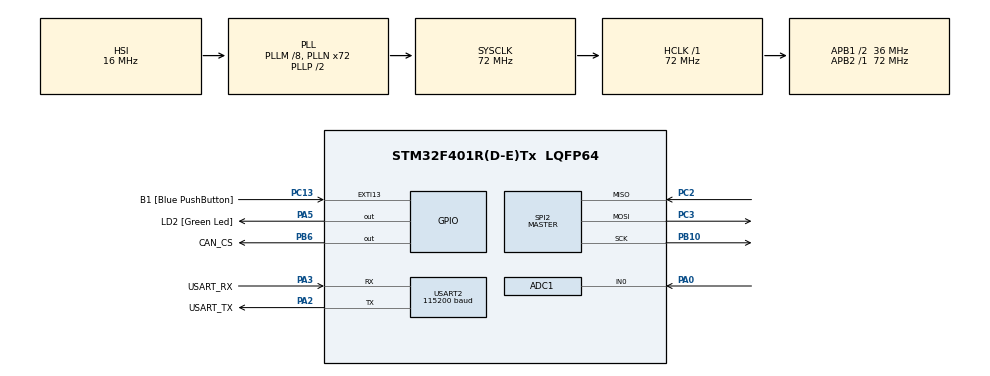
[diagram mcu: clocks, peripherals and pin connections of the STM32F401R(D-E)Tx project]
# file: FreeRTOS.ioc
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ADC1.Channel-0\#ChannelRegularConversion=ADC_CHANNEL_0
ADC1.Channel-1\#ChannelRegularConversion=ADC_CHANNEL_TEMPSENSOR
ADC1.ClockPrescaler=ADC_CLOCK_SYNC_PCLK_DIV8
ADC1.ContinuousConvMode=ENABLE
ADC1.DMAContinuousRequests=ENABLE
ADC1.EOCSelection=ADC_EOC_SEQ_CONV
ADC1.EnableAnalogWatchDog=true
ADC1.HighThreshold=3000
ADC1.InjNumberOfConversion=0
ADC1.LowThreshold=200
ADC1.NbrOfConversion=2
ADC1.NbrOfConversionFlag=1
ADC1.Rank-0\#ChannelRegularConversion=1
ADC1.Rank-1\#ChannelRegularConversion=2
ADC1.SamplingTime-0\#ChannelRegularConversion=ADC_SAMPLETIME_84CYCLES
ADC1.SamplingTime-1\#ChannelRegularConversion=ADC_SAMPLETIME_84CYCLES
ADC1.master=1
Dma.ADC1.0.Direction=DMA_PERIPH_TO_MEMORY
Dma.ADC1.0.FIFOMode=DMA_FIFOMODE_DISABLE
Dma.ADC1.0.Instance=DMA2_Stream0
Dma.ADC1.0.MemDataAlignment=DMA_MDATAALIGN_WORD
Dma.ADC1.0.MemInc=DMA_MINC_ENABLE
Dma.ADC1.0.Mode=DMA_CIRCULAR
Dma.ADC1.0.PeriphDataAlignment=DMA_PDATAALIGN_WORD
Dma.ADC1.0.PeriphInc=DMA_PINC_DISABLE
Dma.ADC1.0.Priority=DMA_PRIORITY_LOW
Dma.Request0=ADC1
FREERTOS.Tasks01=defaultTask,0,128,StartDefaultTask,Default,NULL,Dynamic,NULL,NULL
Mcu.Family=STM32F4
Mcu.Name=STM32F401R(D-E)Tx
Mcu.Package=LQFP64
NVIC.ADC_IRQn=true\:5\:0\:false\:false\:true\:true\:true\:true\:true
NVIC.DMA2_Stream0_IRQn=true\:5\:0\:false\:false\:true\:true\:false\:true\:true
NVIC.EXTI15_10_IRQn=true\:5\:0\:false\:false\:true\:true\:true\:true\:true
NVIC.PriorityGroup=NVIC_PRIORITYGROUP_4
NVIC.TIM1_UP_TIM10_IRQn=true\:15\:0\:false\:false\:true\:false\:false\:true\:true
NVIC.TimeBase=TIM1_UP_TIM10_IRQn
NVIC.TimeBaseIP=TIM1
PA0-WKUP.Signal=ADCx_IN0
PA13.GPIO_Label=TMS
PA13.Mode=Serial_Wire
PA13.Signal=SYS_JTMS-SWDIO
PA14.GPIO_Label=TCK
PA14.Mode=Serial_Wire
PA14.Signal=SYS_JTCK-SWCLK
PA2.GPIO_Label=USART_TX
PA2.GPIO_Mode=GPIO_MODE_AF_PP
PA2.GPIO_PuPd=GPIO_NOPULL
PA2.GPIO_Speed=GPIO_SPEED_FREQ_LOW
PA2.Mode=Asynchronous
PA2.Signal=USART2_TX
PA3.GPIO_Label=USART_RX
PA3.GPIO_Mode=GPIO_MODE_AF_PP
PA3.GPIO_PuPd=GPIO_NOPULL
PA3.GPIO_Speed=GPIO_SPEED_FREQ_LOW
PA3.Mode=Asynchronous
PA3.Signal=USART2_RX
PA5.GPIO_Label=LD2 [Green Led]
PA5.GPIO_Mode=GPIO_MODE_OUTPUT_PP
PA5.GPIO_PuPd=GPIO_NOPULL
PA5.GPIO_Speed=GPIO_SPEED_FREQ_LOW
PA5.Signal=GPIO_Output
PB10.Mode=Full_Duplex_Master
PB10.Signal=SPI2_SCK
PB3.GPIO_Label=SWO
PB3.Signal=SYS_JTDO-SWO
PB6.GPIO_Label=CAN_CS
PB6.GPIO_Speed=GPIO_SPEED_FREQ_MEDIUM
PB6.PinState=GPIO_PIN_SET
PB6.Signal=GPIO_Output
PC13-ANTI_TAMP.GPIO_Label=B1 [Blue PushButton]
PC13-ANTI_TAMP.GPIO_ModeDefaultEXTI=GPIO_MODE_IT_FALLING
PC13-ANTI_TAMP.GPIO_PuPd=GPIO_NOPULL
PC13-ANTI_TAMP.Signal=GPXTI13
PC14-OSC32_IN.Mode=LSE-External-Oscillator
PC14-OSC32_IN.Signal=RCC_OSC32_IN
PC15-OSC32_OUT.Mode=LSE-External-Oscillator
PC15-OSC32_OUT.Signal=RCC_OSC32_OUT
PC2.Mode=Full_Duplex_Master
PC2.Signal=SPI2_MISO
PC3.Mode=Full_Duplex_Master
PC3.Signal=SPI2_MOSI
PH0\ -\ OSC_IN.Mode=HSE-External-Clock-Source
PH0\ -\ OSC_IN.Signal=RCC_OSC_IN
PH1\ -\ OSC_OUT.Mode=HSE-External-Clock-Source
PH1\ -\ OSC_OUT.Signal=RCC_OSC_OUT
ProjectManager.HeapSize=0x200
ProjectManager.StackSize=0x400
ProjectManager.TargetToolchain=STM32CubeIDE
RCC.48MHZClocksFreq_Value=20571428.57142857
RCC.AHBFreq_Value=72000000
RCC.APB1CLKDivider=RCC_HCLK_DIV2
RCC.APB1Freq_Value=36000000
RCC.APB1TimFreq_Value=72000000
RCC.APB2Freq_Value=72000000
RCC.APB2TimFreq_Value=72000000
RCC.CortexFreq_Value=72000000
RCC.HCLKFreq_Value=72000000
RCC.HSE_VALUE=8000000
RCC.HSI_VALUE=16000000
RCC.PLLM=8
RCC.PLLN=72
RCC.PLLQ=7
RCC.SYSCLKFreq_VALUE=72000000
RCC.SYSCLKSource=RCC_SYSCLKSOURCE_PLLCLK
RCC.VCOOutputFreq_Value=144000000
RTC.Date=26
RTC.Month=RTC_MONTH_OCTOBER
RTC.WeekDay=RTC_WEEKDAY_WEDNESDAY
SH.ADCx_IN0.0=ADC1_IN0,IN0
SPI2.BaudRatePrescaler=SPI_BAUDRATEPRESCALER_8
SPI2.Direction=SPI_DIRECTION_2LINES
SPI2.Mode=SPI_MODE_MASTER
SPI2.VirtualType=VM_MASTER
STMicroelectronics.X-CUBE-ALGOBUILD.1.3.0.LibraryCcDSPOoLibraryJjDSPOoLibrary=true
USART2.BaudRate=115200
USART2.VirtualMode=VM_ASYNC
VP_ADC1_TempSens_Input.Mode=IN-TempSens
VP_FREERTOS_VS_CMSIS_V1.Mode=CMSIS_V1
VP_RTC_VS_RTC_Activate.Mode=RTC_Enabled
VP_RTC_VS_RTC_Calendar.Mode=RTC_Calendar
VP_STMicroelectronics.X-CUBE-ALGOBUILD_VS_DSPOoLibraryJjLibrary_1.3.0_1.3.0.Mode=DSPOoLibraryJjLibrary
VP_SYS_VS_tim1.Mode=TIM1
board=NUCLEO-F401RE

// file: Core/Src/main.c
/* USER CODE BEGIN Header */
/**
  ******************************************************************************
  * @file           : main.c
  * @brief          : Main program body
  ******************************************************************************
  * @attention
  *
  * Copyright (c) 2022 STMicroelectronics.
  * All rights reserved.
  *
  * This software is licensed under terms that can be found in the LICENSE file
  * in the root directory of this software component.
  * If no LICENSE file comes with this software, it is provided AS-IS.
  *
  * ADC/DMA + ARM/DSP/FIR + CANxSPI + FREERTOS	:::::	SORRENTINO-ORTIZ ECHENIQUE
  * ELECTRÓNICA DIGITAL 3 						::::: 	UNSAM
  * PROYECTO
  *
  *
  ******************************************************************************
  */
/* USER CODE END Header */
#include "main.h"
#include "cmsis_os.h"

/* USER CODE BEGIN Includes */
#include "arm_math.h"

#include "FreeRTOS.h"
#include "task.h"
// #include "timers.h"
#include "queue.h"
#include "semphr.h"
// #include "event_groups.h"
#include <stdlib.h>
#include <string.h>
#include <stdio.h>

#include "stm32f4xx_hal.h"
#include "CANSPI.h"
/* USER CODE END Includes */

/* USER CODE BEGIN PD */

#define Tension_Muestreada ((float) 3.3 * (float) Lectura_Datos[1] / (float) 4095)
#define V_25 (float) 0.76 //datasheet
#define Pendiente_Prom (float) 0.0025

#define Tension_Muestreada2 Lectura_Datos[0]
//#define Cant_Coefs_K 	2 //6, filtro IIR, prueba
//#define Cant_Coefs_V 	3 //7
#define Elementos 		5 //NUM_BLOCKS

#define BLOCK_SIZE 1
#define NUM_TAPS 301
/* USER CODE END PD */

ADC_HandleTypeDef hadc1;
DMA_HandleTypeDef hdma_adc1;

RTC_HandleTypeDef hrtc;

SPI_HandleTypeDef hspi2;

UART_HandleTypeDef huart2;

//osThreadId defaultTaskHandle;
/* USER CODE BEGIN PV */
union Temp_Byte{
		float32_t temperatura;
		uint8_t byte_temp[4];
	};

// Coeficientes del filtro FIR, notch para suprimir ruido a 50 Hz
const float32_t fir_coefficients[NUM_TAPS] = {0.0003,  0.0003,  0.0002,  0.0002,  0.0001,  0.0000, -0.0001, -0.0002, -0.0002, -0.0003,
		   -0.0003, -0.0003, -0.0003, -0.0002, -0.0001,  0.0000,  0.0001,  0.0002,  0.0003,  0.0004,
		    0.0004,  0.0004,  0.0004,  0.0003,  0.0002,  0.0000, -0.0002, -0.0003, -0.0005, -0.0006,
		   -0.0006, -0.0006, -0.0005, -0.0004, -0.0002, -0.0000,  0.0002,  0.0005,  0.0006,  0.0008,
		    0.0009,  0.0008,  0.0007,  0.0006,  0.0003, -0.0000, -0.0003, -0.0006, -0.0009, -0.0011,
		   -0.0012, -0.0011, -0.0010, -0.0007, -0.0004,  0.0000,  0.0004,  0.0008,  0.0012,  0.0014,
		    0.0015,  0.0015,  0.0013,  0.0010,  0.0005,  0.0000, -0.0005, -0.0010, -0.0015, -0.0018,
		   -0.0019, -0.0018, -0.0016, -0.0012, -0.0006,  0.0000,  0.0007,  0.0013,  0.0018,  0.0021,
		    0.0023,  0.0022,  0.0019,  0.0014,  0.0008,  0.0000, -0.0008, -0.0015, -0.0021, -0.0025,
		   -0.0027, -0.0026, -0.0022, -0.0016, -0.0009, -0.0000,  0.0009,  0.0017,  0.0024,  0.0028,
		    0.0030,  0.0029,  0.0025,  0.0018,  0.0010,  0.0000, -0.0010, -0.0019, -0.0027, -0.0032,
		   -0.0034, -0.0032, -0.0028, -0.0020, -0.0011,  0.0000,  0.0011,  0.0021,  0.0029,  0.0034,
		    0.0036,  0.0035,  0.0030,  0.0022,  0.0011, -0.0000, -0.0012, -0.0022, -0.0031, -0.0036,
		   -0.0038, -0.0037, -0.0031, -0.0023, -0.0012,  0.0000,  0.0012,  0.0023,  0.0032,  0.0038,
		    0.0040,  0.0038,  0.0032,  0.0023,  0.0012,  0.0000, -0.0012, -0.0023, -0.0032, -0.0038,
		    0.9957, -0.0038, -0.0032, -0.0023, -0.0012,  0.0000,  0.0012,  0.0023,  0.0032,  0.0038,
		    0.0040,  0.0038,  0.0032,  0.0023,  0.0012,  0.0000, -0.0012, -0.0023, -0.0031, -0.0037,
		   -0.0038, -0.0036, -0.0031, -0.0022, -0.0012, -0.0000,  0.0011,  0.0022,  0.0030,  0.0035,
		    0.0036,  0.0034,  0.0029,  0.0021,  0.0011,  0.0000, -0.0011, -0.0020, -0.0028, -0.0032,
		   -0.0034, -0.0032, -0.0027, -0.0019, -0.0010,  0.0000,  0.0010,  0.0018,  0.0025,  0.0029,
		    0.0030,  0.0028,  0.0024,  0.0017,  0.0009, -0.0000, -0.0009, -0.0016, -0.0022, -0.0026,
		   -0.0027, -0.0025, -0.0021, -0.0015, -0.0008,  0.0000,  0.0008,  0.0014,  0.0019,  0.0022,
		    0.0023,  0.0021,  0.0018,  0.0013,  0.0007,  0.0000, -0.0006, -0.0012, -0.0016, -0.0018,
		   -0.0019, -0.0018, -0.0015, -0.0010, -0.0005,  0.0000,  0.0005,  0.0010,  0.0013,  0.0015,
		    0.0015,  0.0014,  0.0012,  0.0008,  0.0004,  0.0000, -0.0004, -0.0007, -0.0010, -0.0011,
		   -0.0012, -0.0011, -0.0009, -0.0006, -0.0003, -0.0000,  0.0003,  0.0006,  0.0007,  0.0008,
		    0.0009,  0.0008,  0.0006,  0.0005,  0.0002, -0.0000, -0.0002, -0.0004, -0.0005, -0.0006,
		   -0.0006, -0.0006, -0.0005, -0.0003, -0.0002,  0.0000,  0.0002,  0.0003,  0.0004,  0.0004,
		    0.0004,  0.0004,  0.0003,  0.0002,  0.0001,  0.0000, -0.0001, -0.0002, -0.0003, -0.0003,
		   -0.0003, -0.0003, -0.0002, -0.0002, -0.0001,  0.0000,  0.0001,  0.0002,  0.0002,  0.0003,
		    0.0003};

arm_fir_instance_f32 fir_instance;
float32_t fir_in_arm[Elementos*BLOCK_SIZE], fir_out_arm[Elementos*BLOCK_SIZE], fir_state[Elementos+BLOCK_SIZE-1];

float Temp2;
float Temperatura_50Hz;
int flag0 = 0;
uint32_t Lectura_Datos[2];

SemaphoreHandle_t Semaforo1;
SemaphoreHandle_t Semaforo2;
SemaphoreHandle_t Semaforo3;

QueueHandle_t Cola_Datos; // 5 datos salen de Toma a Proceso
QueueHandle_t Dato_Procesado; // Única salida filtrada
QueueHandle_t Alerta; // Blue Button

TaskHandle_t xHandle_Datos = NULL; // Manejo dinámico de prioridades

uCAN_MSG txMessage; // Envío de mensaje a la red CAN
/* USER CODE END PV */

void SystemClock_Config(void);
static void MX_GPIO_Init(void);
static void MX_DMA_Init(void);
static void MX_USART2_UART_Init(void);
static void MX_ADC1_Init(void);
static void MX_RTC_Init(void);
static void MX_SPI2_Init(void);
//void StartDefaultTask(void const * argument);

/* USER CODE BEGIN PFP */

void Toma_Datos(void const * argument); 	//TAREAS
void Procesa_Datos(void const * argument);
void Salida_datos(void const * argument);
void Sobre_Datos(void const * argument);

float UNSAM_ADC (void);		//FUNCIONES uint32_t UNSAM_ADC (void)
void UNSAM_CAN (float32_t);	//void UNSAM_CAN (float)
//float UNSAM_iir_Lineal (float);
void get_time(void); // BB

/* USER CODE END PFP */

/* USER CODE BEGIN 0 */
/*
void HAL_ADC_LevelOutOfWindowCallback(ADC_HandleTypeDef* hadc)
{
	static unsigned int a = 0;
	a++;
}
*/
/*
void HAL_ADC_ConvCpltCallback(ADC_HandleTypeDef* hadc)
{
	V_Muest1 = Tension_Muestreada;
	Temp1 = ((V_Muest1 - V_25) / Pendiente_Prom) +15;

	V_Muest2 = Tension_Muestreada2;
	Temp2 = V_Muest2 * 100;

	fir_in_arm = (float32_t) Temperatura;
	arm_fir_f32(&fir_instance, &fir_in_arm, &fir_out_arm, 1);
	Temperatura_50Hz = fir_out_arm;
	*/
/*
	iir_in_arm = (float32_t) Temp2;
	arm_iir_lattice_f32(&iir_instance, &iir_in_arm, &iir_out_arm, 1);
	Temperatura_50Hz = iir_out_arm/10;
}
*/

// Para usar printf
int __io_putchar(int ch){
	HAL_UART_Transmit(&huart2, (uint8_t *)&ch, 1, 100);
	return ch;
}
/* USER CODE END 0 */

int main(void)
{

  /* MCU Configuration--------------------------------------------------------*/

  /* Reset of all peripherals, Initializes the Flash interface and the Systick. */
  HAL_Init();

  /* USER CODE BEGIN Init */
  arm_fir_init_f32(&fir_instance, Elementos, (float32_t *)fir_coefficients, fir_state, BLOCK_SIZE);
  /* USER CODE END Init */

  /* Configure the system clock */
  SystemClock_Config();

  /* Initialize all configured peripherals */
  MX_GPIO_Init();
  MX_DMA_Init();
  MX_USART2_UART_Init();
  MX_ADC1_Init();
  MX_RTC_Init();
  MX_SPI2_Init();
  /* USER CODE BEGIN 2 */
  HAL_ADC_Start_DMA(&hadc1, Lectura_Datos, 2);
  CANSPI_Initialize();
  /* USER CODE END 2 */

  /* USER CODE BEGIN RTOS_SEMAPHORES */
  /* add semaphores, ... */
  Semaforo1 = xSemaphoreCreateBinary();
  if(Semaforo1 == 0)
  {
	  printf("Semaforo1 NO creado\n\r");
  }
  else
  {
  	  printf("Semaforo1 CREADO\n\r");
  }
  Semaforo2 = xSemaphoreCreateBinary();
  if(Semaforo2 == 0)
  {
	  printf("Semaforo2 NO creado\n\r");
  }
  else
  {
	  printf("Semaforo2 CREADO\n\r");
  }
  Semaforo3 = xSemaphoreCreateBinary();
  if(Semaforo3 == 0)
  {
	  printf("Semaforo3 NO creado\n\r");
  }
  else
  {
	  printf("Semaforo3 CREADO\n\r");
  }
  xSemaphoreGive(Semaforo1);
  /* USER CODE END RTOS_SEMAPHORES */

  /* USER CODE BEGIN RTOS_QUEUES */
  /* add queues, ... */
  Cola_Datos = xQueueCreate(5, sizeof(float)); // cantidad y tipo/tamaño Cola_Datos
  if(Cola_Datos == 0)
  {
  	printf("Cola Cola_Datos NO creada\n\r");
  }
  else
  {
  	printf("Cola Cola_Datos CREADA\n\r");
  }
  Dato_Procesado = xQueueCreate(1, sizeof(float)); //Dato_Procesado
  if(Dato_Procesado == 0)
  {
	  printf("Cola Dato_Procesado NO creada\n\r");
  }
  else
  {
	  printf("Cola Dato_Procesado CREADA\n\r");
  }
  Alerta = xQueueCreate(1, sizeof(float)); // cantidad y tipo/tamaño Cola_Datos
  if(Alerta == 0)
  {
  	  printf("Cola Alerta NO creada\n\r");
  }
  else
  {
  	  printf("Cola Alerta CREADA\n\r");
  }
  /* USER CODE END RTOS_QUEUES */

  /* Create the thread(s) */
  /* definition and creation of defaultTask */
  //osThreadDef(defaultTask, StartDefaultTask, osPriorityNormal, 0, 128);
  //defaultTaskHandle = osThreadCreate(osThread(defaultTask), NULL);

  /* USER CODE BEGIN RTOS_THREADS */
  /* add threads, ... */
  xTaskCreate((void *)Toma_Datos, "tomaDato", configMINIMAL_STACK_SIZE, NULL, tskIDLE_PRIORITY + 4, NULL);
  xTaskCreate((void *)Procesa_Datos, "procDato", configMINIMAL_STACK_SIZE, NULL, tskIDLE_PRIORITY + 3, NULL);
  xTaskCreate((void *)Salida_datos, "saliDato", configMINIMAL_STACK_SIZE, NULL, tskIDLE_PRIORITY + 2, NULL);
  xTaskCreate((void *)Sobre_Datos, "sobreDato", configMINIMAL_STACK_SIZE, NULL, tskIDLE_PRIORITY + 1, &xHandle_Datos);
  vTaskStartScheduler();
  /* USER CODE END RTOS_THREADS */

  /* Start scheduler */
  //osKernelStart();

  /* We should never get here as control is now taken by the scheduler */
  /* Infinite loop */
  while (1)
  {

  }
}

void SystemClock_Config(void)
{
  RCC_OscInitTypeDef RCC_OscInitStruct = {0};
  RCC_ClkInitTypeDef RCC_ClkInitStruct = {0};

  /** Configure the main internal regulator output voltage
  */
  __HAL_RCC_PWR_CLK_ENABLE();
  __HAL_PWR_VOLTAGESCALING_CONFIG(PWR_REGULATOR_VOLTAGE_SCALE2);

  /** Initializes the RCC Oscillators according to the specified parameters
  * in the RCC_OscInitTypeDef structure.
  */
  RCC_OscInitStruct.OscillatorType = RCC_OSCILLATORTYPE_HSI|RCC_OSCILLATORTYPE_LSI;
  RCC_OscInitStruct.HSIState = RCC_HSI_ON;
  RCC_OscInitStruct.HSICalibrationValue = RCC_HSICALIBRATION_DEFAULT;
  RCC_OscInitStruct.LSIState = RCC_LSI_ON;
  RCC_OscInitStruct.PLL.PLLState = RCC_PLL_ON;
  RCC_OscInitStruct.PLL.PLLSource = RCC_PLLSOURCE_HSI;
  RCC_OscInitStruct.PLL.PLLM = 8;
  RCC_OscInitStruct.PLL.PLLN = 72;
  RCC_OscInitStruct.PLL.PLLP = RCC_PLLP_DIV2;
  RCC_OscInitStruct.PLL.PLLQ = 7;
  if (HAL_RCC_OscConfig(&RCC_OscInitStruct) != HAL_OK)
  {
    Error_Handler();
  }

  /** Initializes the CPU, AHB and APB buses clocks
  */
  RCC_ClkInitStruct.ClockType = RCC_CLOCKTYPE_HCLK|RCC_CLOCKTYPE_SYSCLK
                              |RCC_CLOCKTYPE_PCLK1|RCC_CLOCKTYPE_PCLK2;
  RCC_ClkInitStruct.SYSCLKSource = RCC_SYSCLKSOURCE_PLLCLK;
  RCC_ClkInitStruct.AHBCLKDivider = RCC_SYSCLK_DIV1;
  RCC_ClkInitStruct.APB1CLKDivider = RCC_HCLK_DIV2;
  RCC_ClkInitStruct.APB2CLKDivider = RCC_HCLK_DIV1;

  if (HAL_RCC_ClockConfig(&RCC_ClkInitStruct, FLASH_LATENCY_2) != HAL_OK)
  {
    Error_Handler();
  }
}

static void MX_ADC1_Init(void)
{

  ADC_AnalogWDGConfTypeDef AnalogWDGConfig = {0};
  ADC_ChannelConfTypeDef sConfig = {0};

  /** Configure the global features of the ADC (Clock, Resolution, Data Alignment and number of conversion)
  */
  hadc1.Instance = ADC1;
  hadc1.Init.ClockPrescaler = ADC_CLOCK_SYNC_PCLK_DIV8;
  hadc1.Init.Resolution = ADC_RESOLUTION_12B;
  hadc1.Init.ScanConvMode = ENABLE;
  hadc1.Init.ContinuousConvMode = ENABLE;
  hadc1.Init.DiscontinuousConvMode = DISABLE;
  hadc1.Init.ExternalTrigConvEdge = ADC_EXTERNALTRIGCONVEDGE_NONE;
  hadc1.Init.ExternalTrigConv = ADC_SOFTWARE_START;
  hadc1.Init.DataAlign = ADC_DATAALIGN_RIGHT;
  hadc1.Init.NbrOfConversion = 2;
  hadc1.Init.DMAContinuousRequests = ENABLE;
  hadc1.Init.EOCSelection = ADC_EOC_SEQ_CONV;
  if (HAL_ADC_Init(&hadc1) != HAL_OK)
  {
    Error_Handler();
  }

  /** Configure the analog watchdog
  */
  AnalogWDGConfig.WatchdogMode = ADC_ANALOGWATCHDOG_SINGLE_REG;
  AnalogWDGConfig.HighThreshold = 3000;
  AnalogWDGConfig.LowThreshold = 200;
  AnalogWDGConfig.Channel = ADC_CHANNEL_0;
  AnalogWDGConfig.ITMode = DISABLE;
  if (HAL_ADC_AnalogWDGConfig(&hadc1, &AnalogWDGConfig) != HAL_OK)
  {
    Error_Handler();
  }

  /** Configure for the selected ADC regular channel its corresponding rank in the sequencer and its sample time.
  */
  sConfig.Channel = ADC_CHANNEL_0;
  sConfig.Rank = 1;
  sConfig.SamplingTime = ADC_SAMPLETIME_84CYCLES;
  if (HAL_ADC_ConfigChannel(&hadc1, &sConfig) != HAL_OK)
  {
    Error_Handler();
  }

  /** Configure for the selected ADC regular channel its corresponding rank in the sequencer and its sample time.
  */
  sConfig.Channel = ADC_CHANNEL_TEMPSENSOR;
  sConfig.Rank = 2;
  if (HAL_ADC_ConfigChannel(&hadc1, &sConfig) != HAL_OK)
  {
    Error_Handler();
  }

}

static void MX_RTC_Init(void)
{

  RTC_TimeTypeDef sTime = {0};
  RTC_DateTypeDef sDate = {0};

  /** Initialize RTC Only
  */
  hrtc.Instance = RTC;
  hrtc.Init.HourFormat = RTC_HOURFORMAT_24;
  hrtc.Init.AsynchPrediv = 127;
  hrtc.Init.SynchPrediv = 255;
  hrtc.Init.OutPut = RTC_OUTPUT_DISABLE;
  hrtc.Init.OutPutPolarity = RTC_OUTPUT_POLARITY_HIGH;
  hrtc.Init.OutPutType = RTC_OUTPUT_TYPE_OPENDRAIN;
  if (HAL_RTC_Init(&hrtc) != HAL_OK)
  {
    Error_Handler();
  }

  /** Initialize RTC and set the Time and Date
  */
  sTime.Hours = 0x0;
  sTime.Minutes = 0x0;
  sTime.Seconds = 0x0;
  sTime.DayLightSaving = RTC_DAYLIGHTSAVING_NONE;
  sTime.StoreOperation = RTC_STOREOPERATION_RESET;
  if (HAL_RTC_SetTime(&hrtc, &sTime, RTC_FORMAT_BCD) != HAL_OK)
  {
    Error_Handler();
  }
  sDate.WeekDay = RTC_WEEKDAY_WEDNESDAY;
  sDate.Month = RTC_MONTH_OCTOBER;
  sDate.Date = 0x26;
  sDate.Year = 0x0;

  if (HAL_RTC_SetDate(&hrtc, &sDate, RTC_FORMAT_BCD) != HAL_OK)
  {
    Error_Handler();
  }

}

static void MX_SPI2_Init(void)
{

  /* SPI2 parameter configuration*/
  hspi2.Instance = SPI2;
  hspi2.Init.Mode = SPI_MODE_MASTER;
  hspi2.Init.Direction = SPI_DIRECTION_2LINES;
  hspi2.Init.DataSize = SPI_DATASIZE_8BIT;
  hspi2.Init.CLKPolarity = SPI_POLARITY_LOW;
  hspi2.Init.CLKPhase = SPI_PHASE_1EDGE;
  hspi2.Init.NSS = SPI_NSS_SOFT;
  hspi2.Init.BaudRatePrescaler = SPI_BAUDRATEPRESCALER_8;
  hspi2.Init.FirstBit = SPI_FIRSTBIT_MSB;
  hspi2.Init.TIMode = SPI_TIMODE_DISABLE;
  hspi2.Init.CRCCalculation = SPI_CRCCALCULATION_DISABLE;
  hspi2.Init.CRCPolynomial = 10;
  if (HAL_SPI_Init(&hspi2) != HAL_OK)
  {
    Error_Handler();
  }

}

static void MX_USART2_UART_Init(void)
{

  huart2.Instance = USART2;
  huart2.Init.BaudRate = 115200;
  huart2.Init.WordLength = UART_WORDLENGTH_8B;
  huart2.Init.StopBits = UART_STOPBITS_1;
  huart2.Init.Parity = UART_PARITY_NONE;
  huart2.Init.Mode = UART_MODE_TX_RX;
  huart2.Init.HwFlowCtl = UART_HWCONTROL_NONE;
  huart2.Init.OverSampling = UART_OVERSAMPLING_16;
  if (HAL_UART_Init(&huart2) != HAL_OK)
  {
    Error_Handler();
  }

}

static void MX_DMA_Init(void)
{

  /* DMA controller clock enable */
  __HAL_RCC_DMA2_CLK_ENABLE();

  /* DMA interrupt init */
  /* DMA2_Stream0_IRQn interrupt configuration */
  HAL_NVIC_SetPriority(DMA2_Stream0_IRQn, 5, 0);
  HAL_NVIC_EnableIRQ(DMA2_Stream0_IRQn);

}

static void MX_GPIO_Init(void)
{
  GPIO_InitTypeDef GPIO_InitStruct = {0};

  /* GPIO Ports Clock Enable */
  __HAL_RCC_GPIOC_CLK_ENABLE();
  __HAL_RCC_GPIOH_CLK_ENABLE();
  __HAL_RCC_GPIOA_CLK_ENABLE();
  __HAL_RCC_GPIOB_CLK_ENABLE();

  /*Configure GPIO pin Output Level */
  HAL_GPIO_WritePin(LD2_GPIO_Port, LD2_Pin, GPIO_PIN_RESET);

  /*Configure GPIO pin Output Level */
  HAL_GPIO_WritePin(CAN_CS_GPIO_Port, CAN_CS_Pin, GPIO_PIN_SET);

  /*Configure GPIO pin : B1_Pin */
  GPIO_InitStruct.Pin = B1_Pin;
  GPIO_InitStruct.Mode = GPIO_MODE_IT_FALLING;
  GPIO_InitStruct.Pull = GPIO_NOPULL;
  HAL_GPIO_Init(B1_GPIO_Port, &GPIO_InitStruct);

  /*Configure GPIO pin : LD2_Pin */
  GPIO_InitStruct.Pin = LD2_Pin;
  GPIO_InitStruct.Mode = GPIO_MODE_OUTPUT_PP;
  GPIO_InitStruct.Pull = GPIO_NOPULL;
  GPIO_InitStruct.Speed = GPIO_SPEED_FREQ_LOW;
  HAL_GPIO_Init(LD2_GPIO_Port, &GPIO_InitStruct);

  /*Configure GPIO pin : CAN_CS_Pin */
  GPIO_InitStruct.Pin = CAN_CS_Pin;
  GPIO_InitStruct.Mode = GPIO_MODE_OUTPUT_PP;
  GPIO_InitStruct.Pull = GPIO_NOPULL;
  GPIO_InitStruct.Speed = GPIO_SPEED_FREQ_MEDIUM;
  HAL_GPIO_Init(CAN_CS_GPIO_Port, &GPIO_InitStruct);

  /* EXTI interrupt init*/
  HAL_NVIC_SetPriority(EXTI15_10_IRQn, 5, 0);
  HAL_NVIC_EnableIRQ(EXTI15_10_IRQn);

}

/* USER CODE BEGIN 4 */
void Toma_Datos(void const * argument)
{
	float Entrada[Elementos];
	while(1)
	{
		xSemaphoreTake(Semaforo1, portMAX_DELAY);
		for(uint32_t i = 0; i<Elementos; i++)
		{
			Entrada[i] = UNSAM_ADC();
			Entrada[i] = Entrada[i] * 7.025/100;	// Del ADC a temperatura
			xQueueSend(Cola_Datos, &Entrada[i], portMAX_DELAY); //Cola de 5 espacios enviados a Procesar
		}
		xSemaphoreGive(Semaforo2);
	}
}

float UNSAM_ADC (void)
{
	float V_Muest1;
	float Temp1;
	float V_Muest2;
	V_Muest1 = Tension_Muestreada;
	Temp1 = ((V_Muest1 - V_25) / Pendiente_Prom) +25;
	V_Muest2 = Tension_Muestreada2;
	return(V_Muest2);
}

void Procesa_Datos(void const * argument)
{
	float datos[Elementos];
	float32_t salida[Elementos];
	float sal_Temp_50Hz[1];

	int uxNumberOfFreeSpaces = 0;
	uint32_t  k = 0;
	float aux, suma = 0, prom;

	while(1)
	{
		if(xSemaphoreTake(Semaforo2, portMAX_DELAY)==pdTRUE)
		{
			for(uint32_t i = 0; i<Elementos; i++) // Recepción de cola de Toma
			{
				xQueueReceive(Cola_Datos, &datos[i], portMAX_DELAY);
				uxNumberOfFreeSpaces = uxQueueSpacesAvailable(Cola_Datos);
				Temp2 = datos[i];	// Visor SW
				fir_in_arm[i] = Temp2; // Datos que entran al filtro
			}
			for (uint32_t n = 0; n < uxNumberOfFreeSpaces; n++) // Filtro Notch que suprime ruido a 50 Hz
			{
				arm_fir_f32(&fir_instance, fir_in_arm + (n * BLOCK_SIZE), fir_out_arm + (n * BLOCK_SIZE), BLOCK_SIZE);
				salida[n] = datos[n] + fir_out_arm[n];
			}
			xSemaphoreGive(Semaforo3);
			if(uxNumberOfFreeSpaces > Elementos-1)
			{
				for(k = 0; k<Elementos; k++)
				{
					for(uint32_t j = 0; j<Elementos-1-k; j++)
					{
						if (salida[j]>salida[j+1])
						{
							aux=salida[j];
							salida[j]=salida[j+1];
							salida[j+1]=aux;
						}
					}
				}
				k=0;
				for(k = 0; k<Elementos-2; k++)
				{
					suma = suma + salida[k+1];
				}
				prom = suma/(Elementos-2); suma = 0;
				sal_Temp_50Hz[0] = prom;
				Temperatura_50Hz = sal_Temp_50Hz[0]; // Visor SW

				xQueueSend(Dato_Procesado, sal_Temp_50Hz, portMAX_DELAY);
			}
		}
	}
}

void Salida_datos(void const * argument)
{
	float datos_in[1];
	float Salida_Final[1];
	const TickType_t xBlockTime = pdMS_TO_TICKS( 1000 );
	UBaseType_t uxPriority_Salida;
	uxPriority_Salida = uxTaskPriorityGet( NULL );
	while(1)
	{
		if(xSemaphoreTake(Semaforo3,portMAX_DELAY)==pdTRUE)
		{
			xQueueReceive(Dato_Procesado, datos_in, portMAX_DELAY);
			Salida_Final[0] = datos_in[0];
			if(Salida_Final[0]<40)
			{
				HAL_GPIO_WritePin(LD2_GPIO_Port, LD2_Pin, GPIO_PIN_SET);
				vTaskPrioritySet( xHandle_Datos, ( uxPriority_Salida + 1));
			}
			else
			{
				HAL_GPIO_WritePin(LD2_GPIO_Port, LD2_Pin, GPIO_PIN_RESET);
				UNSAM_CAN(Salida_Final[0]);
			}
			vTaskDelay(xBlockTime);
			xSemaphoreGive(Semaforo1);
		}
	}
}

void UNSAM_CAN (float32_t Salida)
{
	union Temp_Byte Valor;
	int flagMensajeR = 0;
	int uxNumberOfFreeSpaces;
	uxNumberOfFreeSpaces = uxQueueSpacesAvailable( Alerta );
	if(uxNumberOfFreeSpaces < 1)
		xQueueReceive(Alerta, &flagMensajeR, portMAX_DELAY);
	Valor.temperatura = Salida;
	if(flagMensajeR > 0)
	{
		flag0 = 100+flagMensajeR; // Control en Live Expressions

		txMessage.frame.idType = dSTANDARD_CAN_MSG_ID_2_0B;
		txMessage.frame.id = 0x01;
		txMessage.frame.dlc = 8;
		txMessage.frame.data0 = Valor.byte_temp[0];
		txMessage.frame.data1 = Valor.byte_temp[1];
		txMessage.frame.data2 = Valor.byte_temp[2];
		txMessage.frame.data3 = Valor.byte_temp[3];
	    txMessage.frame.data4 = 5;
	    txMessage.frame.data5 = 5;
	    txMessage.frame.data6 = 5;
	    txMessage.frame.data7 = Salida;
	    CANSPI_Transmit(&txMessage);
	}
	else{
		flag0 = 200+flagMensajeR; // Control en Live Expressions

		txMessage.frame.idType = dSTANDARD_CAN_MSG_ID_2_0B;
		txMessage.frame.id = 0x01;
		txMessage.frame.dlc = 8;
		txMessage.frame.data0 = Valor.byte_temp[0];
		txMessage.frame.data1 = Valor.byte_temp[1];
		txMessage.frame.data2 = Valor.byte_temp[2];
		txMessage.frame.data3 = Valor.byte_temp[3];
	    txMessage.frame.data4 = 0;
	    txMessage.frame.data5 = 0;
	    txMessage.frame.data6 = 0;
	    txMessage.frame.data7 = Salida;
	    CANSPI_Transmit(&txMessage);
	}
}

void Sobre_Datos( void const * argument)
{
	UBaseType_t uxPriority_Sobre;
	int flagMensajeR = 0;
	int uxNumberOfFreeSpaces;
	const TickType_t xBlockTime = pdMS_TO_TICKS( 10 );

	for( ;; )
	{
		uxPriority_Sobre = uxTaskPriorityGet( NULL );
		if(uxPriority_Sobre >1)
		{
			flag0 = 444;
			uxNumberOfFreeSpaces = uxQueueSpacesAvailable( Alerta );
			if(uxNumberOfFreeSpaces < 1)
				xQueueReceive(Alerta, &flagMensajeR, portMAX_DELAY);

			txMessage.frame.idType = dSTANDARD_CAN_MSG_ID_2_0B;
			txMessage.frame.id = 0xAA;
			txMessage.frame.dlc = 8;
			txMessage.frame.data0 = 0;
			txMessage.frame.data1 = 0;
			txMessage.frame.data2 = 0;
			txMessage.frame.data3 = 0;
		    txMessage.frame.data4 = 0x01;
		    txMessage.frame.data5 = 0x01;
		    txMessage.frame.data6 = 0x01;
		    txMessage.frame.data7 = 0x01;
		    CANSPI_Transmit(&txMessage);

			vTaskPrioritySet( xHandle_Datos, (uxPriority_Sobre - 2));
		}
		else
			vTaskDelay(xBlockTime);
	}
}

void EXTI15_10_IRQHandler(void)
{
  /* USER CODE BEGIN EXTI15_10_IRQn 0 */
	int flagMensajeT = 10;
	BaseType_t xHigherPriorityTaskWoken;
	get_time();
	flag0 = 12345;
	xHigherPriorityTaskWoken = pdFALSE;
	xQueueSendToBackFromISR( Alerta, &flagMensajeT, &xHigherPriorityTaskWoken );
  /* USER CODE END EXTI15_10_IRQn 0 */
  HAL_GPIO_EXTI_IRQHandler(B1_Pin);
  /* USER CODE BEGIN EXTI15_10_IRQn 1 */

  /* USER CODE END EXTI15_10_IRQn 1 */
}
void get_time(void)
{
	//RTC_DateTypeDef gDate;
	RTC_TimeTypeDef gTime;
	HAL_RTC_GetTime(&hrtc, &gTime, RTC_FORMAT_BIN);
	//HAL_RTC_GetDate(&hrtc, &gDate, RTC_FORMAT_BIN);
	/* Display time Format: hh:mm:ss */
	printf("Se presionó el botón a los = %02d:%02d:%02d \n\r", gTime.Hours, gTime.Minutes, gTime.Seconds);
	/* Display date Format: dd-mm-yy */
	//printf("Fecha = %02d-%02d-%02d \n\r", gDate.Date, gDate.Month, 2000 + gDate.Year);
}
/* USER CODE END 4 */

//void StartDefaultTask(void const * argument)
//{
  /* USER CODE BEGIN 5 */
  /* Infinite loop */

  //for(;;)
  //{
    //osDelay(1);
  //}
  /* USER CODE END 5 */
//}

void HAL_TIM_PeriodElapsedCallback(TIM_HandleTypeDef *htim)
{
  if (htim->Instance == TIM1) {
    HAL_IncTick();
  }
}

void Error_Handler(void)
{
  __disable_irq();
  while (1)
  {
  }
}
